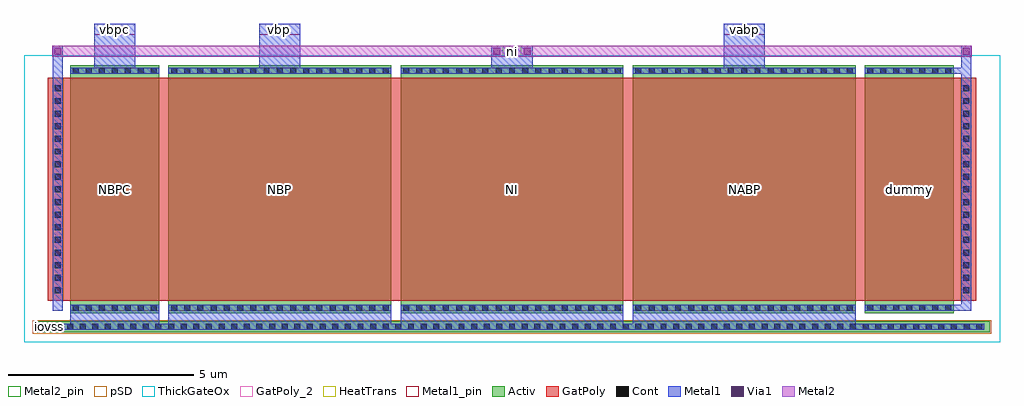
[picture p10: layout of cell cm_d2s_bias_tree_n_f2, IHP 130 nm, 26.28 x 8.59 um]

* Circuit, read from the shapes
.subckt cm_d2s_bias_tree_n_f2 iovss ni vabp vbp vbpc
XM1 vbpc ni iovss iovss sg13_hv_nmos w=2.4u l=6u
XM2 vbp ni iovss iovss sg13_hv_nmos w=6u l=6u
XM3 ni ni iovss iovss sg13_hv_nmos w=6u l=6u
XM4 vabp ni iovss iovss sg13_hv_nmos w=6u l=6u
XM5 ni ni ni iovss sg13_hv_nmos w=2.4u l=6u
.ends

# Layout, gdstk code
from math import pi, radians
import gdstk
lib = gdstk.Library(unit=1e-6, precision=1e-09)
def R(c, l, rs):  # rectangles x0, y0, x1, y1
    for r in rs: c.add(gdstk.rectangle(r[:2], r[2:], *l))
def A(c, l, x, y, w, h, nx, ny, dx, dy):  # array of equal rectangles
    R(c, l, [(x+i*dx, y+j*dy, x+i*dx+w, y+j*dy+h) for i in range(nx) for j in range(ny)])
Activ = (1, 0)
GatPoly = (5, 0)
GatPoly_2 = (5, 2)
Cont = (6, 0)
Metal1 = (8, 0)
Metal1_pin = (8, 2)
Metal2 = (10, 0)
Metal2_pin = (10, 2)
pSD = (14, 0)
Via1 = (19, 0)
ThickGateOx = (44, 0)
HeatTrans = (51, 0)

cm_d2s_nmoshv_3 = lib.new_cell('cm_d2s_nmosHV_3')
R(cm_d2s_nmoshv_3, Activ, [(0,0,0.3,0.3), (0,0,6.68,6), (6.38,0,6.68,0.3)])
R(cm_d2s_nmoshv_3, GatPoly, [(0.34,-0.18,6.34,6.18)])
R(cm_d2s_nmoshv_3, GatPoly_2, [(0.34,-0.18,6.34,6.18)])
A(cm_d2s_nmoshv_3, Cont, 0.07, 0.07, 0.16, 0.16, 1, 4, 0, 0.355)
A(cm_d2s_nmoshv_3, Cont, 6.45, 0.07, 0.16, 0.16, 1, 4, 0, 0.355)
A(cm_d2s_nmoshv_3, Cont, 0.07, 1.495, 0.16, 0.16, 1, 4, 0, 0.355)
A(cm_d2s_nmoshv_3, Cont, 6.45, 1.495, 0.16, 0.16, 1, 4, 0, 0.355)
A(cm_d2s_nmoshv_3, Cont, 0.07, 2.92, 0.16, 0.16, 1, 4, 0, 0.355)
A(cm_d2s_nmoshv_3, Cont, 6.45, 2.92, 0.16, 0.16, 1, 4, 0, 0.355)
A(cm_d2s_nmoshv_3, Cont, 0.07, 4.345, 0.16, 0.16, 1, 4, 0, 0.355)
A(cm_d2s_nmoshv_3, Cont, 6.45, 4.345, 0.16, 0.16, 1, 4, 0, 0.355)
R(cm_d2s_nmoshv_3, Cont, [(0.07,5.77,0.23,5.93), (6.45,5.77,6.61,5.93)])
R(cm_d2s_nmoshv_3, Metal1, [(0.07,0,0.23,6), (6.45,0,6.61,6)])
R(cm_d2s_nmoshv_3, Metal1_pin, [(0.07,0,0.23,6), (6.45,0,6.61,6)])
R(cm_d2s_nmoshv_3, ThickGateOx, [(-0.27,-0.52,6.95,6.52)])
R(cm_d2s_nmoshv_3, HeatTrans, [(0.34,-0.18,6.34,6.18)])
cm_d2s_nmoshv_3.add(gdstk.Label('nmosHV', (3.34,3), layer=63, texttype=0))
cm_d2s_nmoshv_3.add(gdstk.Label('nmosHV', (3.34,3), layer=51, texttype=0))

cm_d2s_nmoshv_2 = lib.new_cell('cm_d2s_nmosHV_2')
R(cm_d2s_nmoshv_2, Activ, [(0,0,0.3,0.3), (0,0,6.68,2.4), (6.38,0,6.68,0.3)])
R(cm_d2s_nmoshv_2, GatPoly, [(0.34,-0.18,6.34,2.58)])
R(cm_d2s_nmoshv_2, GatPoly_2, [(0.34,-0.18,6.34,2.58)])
A(cm_d2s_nmoshv_2, Cont, 0.07, 0.07, 0.16, 0.16, 1, 7, 0, 0.35)
A(cm_d2s_nmoshv_2, Cont, 6.45, 0.07, 0.16, 0.16, 1, 7, 0, 0.35)
R(cm_d2s_nmoshv_2, Metal1, [(0.07,0,0.23,2.4), (6.45,0,6.61,2.4)])
R(cm_d2s_nmoshv_2, Metal1_pin, [(0.07,0,0.23,2.4), (6.45,0,6.61,2.4)])
R(cm_d2s_nmoshv_2, ThickGateOx, [(-0.27,-0.52,6.95,2.92)])
R(cm_d2s_nmoshv_2, HeatTrans, [(0.34,-0.18,6.34,2.58)])
cm_d2s_nmoshv_2.add(gdstk.Label('nmosHV', (3.34,1.2), layer=63, texttype=0))
cm_d2s_nmoshv_2.add(gdstk.Label('nmosHV', (3.34,1.2), layer=51, texttype=0))

cm_d2s_bias_tree_n_f2 = lib.new_cell('cm_d2s_bias_tree_n_f2')
R(cm_d2s_bias_tree_n_f2, Activ, [(-0.97,-0.51,24.77,-0.21)])
R(cm_d2s_bias_tree_n_f2, GatPoly, [(-0.6,0.34,-0.1,6.34), (23.9,0.34,24.4,6.34)])
A(cm_d2s_bias_tree_n_f2, Cont, -0.76, -0.44, 0.16, 0.16, 75, 1, 0.34, 0)
A(cm_d2s_bias_tree_n_f2, Cont, -0.41, 0.54, 0.16, 0.16, 1, 17, 0, 0.34)
A(cm_d2s_bias_tree_n_f2, Cont, 24.05, 0.54, 0.16, 0.16, 1, 17, 0, 0.34)
A(cm_d2s_bias_tree_n_f2, Metal1, 2.65, -0.44, 6, 0.67, 3, 1, 6.25, 0)
R(cm_d2s_bias_tree_n_f2, Metal1, [(-0.81,-0.44,24.61,-0.28), (0,-0.44,2.4,0.23), (-0.46,0.07,-0.2,6.61), (23.7,0.07,24.13,0.23), (24,0.07,24.26,6.61), (0.645,6.45,1.755,7.805), (5.095,6.45,6.205,7.805), (11.345,6.45,12.455,7.205), (17.595,6.45,18.705,7.805), (23.7,6.45,24.13,6.61), (-0.46,6.48,-0.2,7.205), (24,6.48,24.26,7.205)])
R(cm_d2s_bias_tree_n_f2, Metal1_pin, [(-0.81,-0.44,-0.31,-0.28), (0.645,7.505,1.755,7.805), (5.095,7.505,6.205,7.805), (17.595,7.505,18.705,7.805)])
R(cm_d2s_bias_tree_n_f2, Metal2, [(-0.475,6.915,24.275,7.205)])
R(cm_d2s_bias_tree_n_f2, Metal2_pin, [(11.65,6.915,12.15,7.205)])
R(cm_d2s_bias_tree_n_f2, pSD, [(-1,-0.54,24.8,-0.18)])
A(cm_d2s_bias_tree_n_f2, Via1, 11.395, 6.965, 0.19, 0.19, 3, 1, 0.41, 0)
R(cm_d2s_bias_tree_n_f2, Via1, [(-0.425,6.965,-0.235,7.155), (24.035,6.965,24.225,7.155)])
R(cm_d2s_bias_tree_n_f2, ThickGateOx, [(-1.24,-0.78,25.04,6.95)])
cm_d2s_bias_tree_n_f2.add(gdstk.Reference(cm_d2s_nmoshv_3, (2.65,6.68), rotation=3*pi/2))
cm_d2s_bias_tree_n_f2.add(gdstk.Reference(cm_d2s_nmoshv_3, (8.9,6.68), rotation=3*pi/2))
cm_d2s_bias_tree_n_f2.add(gdstk.Reference(cm_d2s_nmoshv_3, (21.15,6.68), rotation=3*pi/2, x_reflection=True))
cm_d2s_bias_tree_n_f2.add(gdstk.Reference(cm_d2s_nmoshv_2, (0,6.68), rotation=3*pi/2))
cm_d2s_bias_tree_n_f2.add(gdstk.Reference(cm_d2s_nmoshv_2, (23.8,6.68), rotation=3*pi/2, x_reflection=True))
cm_d2s_bias_tree_n_f2.add(gdstk.Label('NBPC', (1.2,3.34), layer=63, texttype=0))
cm_d2s_bias_tree_n_f2.add(gdstk.Label('NBP', (5.65,3.34), layer=63, texttype=0))
cm_d2s_bias_tree_n_f2.add(gdstk.Label('NI', (11.9,3.34), layer=63, texttype=0))
cm_d2s_bias_tree_n_f2.add(gdstk.Label('NABP', (18.15,3.34), layer=63, texttype=0))
cm_d2s_bias_tree_n_f2.add(gdstk.Label('dummy', (22.6,3.34), layer=63, texttype=0))
cm_d2s_bias_tree_n_f2.add(gdstk.Label('ni', (11.9,7.06), layer=10, texttype=25))
cm_d2s_bias_tree_n_f2.add(gdstk.Label('iovss', (-0.56,-0.36), layer=8, texttype=25))
cm_d2s_bias_tree_n_f2.add(gdstk.Label('vbpc', (1.2,7.655), layer=8, texttype=25))
cm_d2s_bias_tree_n_f2.add(gdstk.Label('vbp', (5.65,7.655), layer=8, texttype=25))
cm_d2s_bias_tree_n_f2.add(gdstk.Label('vabp', (18.15,7.655), layer=8, texttype=25))

lib.write_gds('cm_d2s_bias_tree_n_f2.gds')
